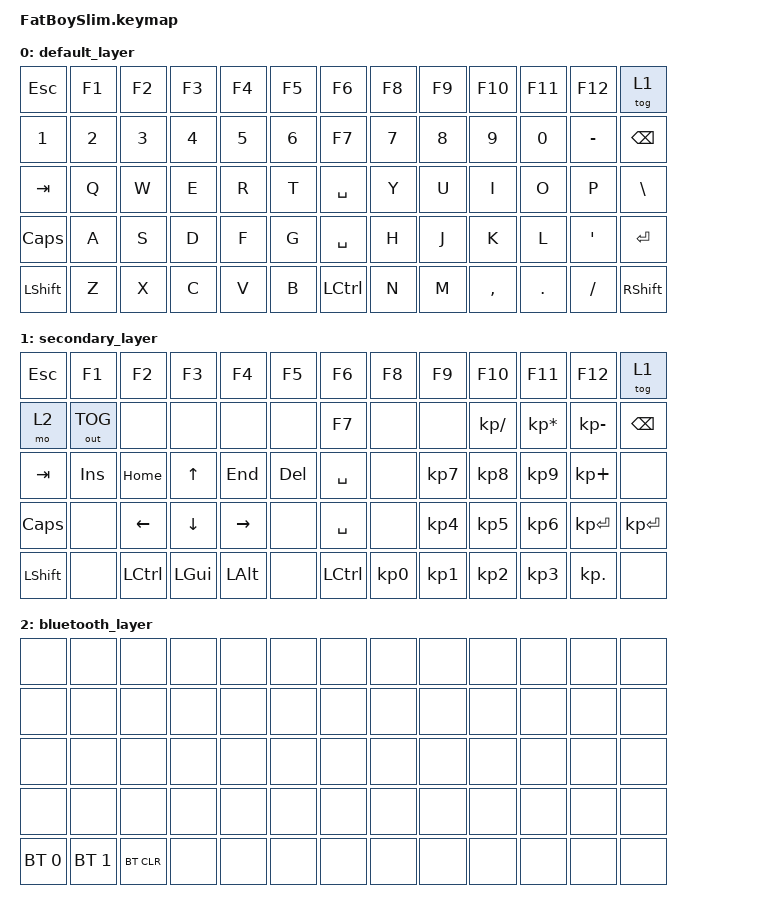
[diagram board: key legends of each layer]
#include <behaviors.dtsi>
#include <dt-bindings/zmk/keys.h>
#include <dt-bindings/zmk/bt.h>
#include <dt-bindings/zmk/outputs.h>

#define default_layer 0
#define secondary_layer 1
#define bluetooth_layer 2

/ {
    keymap {
        compatible = "zmk,keymap";

        default_layer {
            bindings = <
                &kp ESC &kp F1 &kp F2 &kp F3 &kp F4 &kp F5 &kp F6 &kp F8 &kp F9 &kp F10 &kp F11 &kp F12 &tog 1
                &kp N1 &kp N2 &kp N3 &kp N4 &kp N5 &kp N6 &kp F7 &kp N7 &kp N8 &kp N9 &kp N0 &kp MINUS &kp BACKSPACE
                &kp TAB &kp Q &kp W &kp E &kp R &kp T &kp SPACE &kp Y &kp U &kp I &kp O &kp P &kp BSLH
                &kp CAPS &kp A &kp S &kp D &kp F &kp G &kp SPACE &kp H &kp J &kp K &kp L &kp APOS &kp ENTER
                &kp LEFT_SHIFT &kp Z &kp X &kp C &kp V &kp B &kp LEFT_CONTROL &kp N &kp M &kp COMMA &kp PERIOD &kp SLASH &kp RIGHT_SHIFT
            >;
        };
        secondary_layer {
            bindings = <
                &kp ESC &kp F1 &kp F2 &kp F3 &kp F4 &kp F5 &kp F6 &kp F8 &kp F9 &kp F10 &kp F11 &kp F12 &tog 1
                &mo 2 &out OUT_TOG &none &none &none &none &kp F7 &none &none &kp KP_DIVIDE &kp KP_MULTIPLY &kp KP_MINUS &kp BACKSPACE
                &kp TAB &kp INSERT &kp HOME &kp UP_ARROW &kp END &kp DEL &kp SPACE &none &kp KP_N7 &kp KP_N8 &kp KP_N9 &kp KP_PLUS &none
                &kp CAPS &none &kp LEFT_ARROW &kp DOWN_ARROW &kp RIGHT_ARROW &none &kp SPACE &none &kp KP_N4 &kp KP_N5 &kp KP_N6 &kp KP_ENTER &kp KP_ENTER
                &kp LEFT_SHIFT &none &kp LEFT_CONTROL &kp LEFT_GUI &kp LEFT_ALT &none &kp LEFT_CONTROL &kp KP_N0 &kp KP_N1 &kp KP_N2 &kp KP_N3 &kp KP_DOT &none
            >;
        };
        bluetooth_layer {
            bindings = <
                &none &none &none &none &none &none &none &none &none &none &none &none &none
                &none &none &none &none &none &none &none &none &none &none &none &none &none
                &none &none &none &none &none &none &none &none &none &none &none &none &none
                &none &none &none &none &none &none &none &none &none &none &none &none &none
                &bt BT_SEL 0 &bt BT_SEL 1 &bt BT_CLR &none &none &none &none &none &none &none &none &none &none
            >;
        };
    };
};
